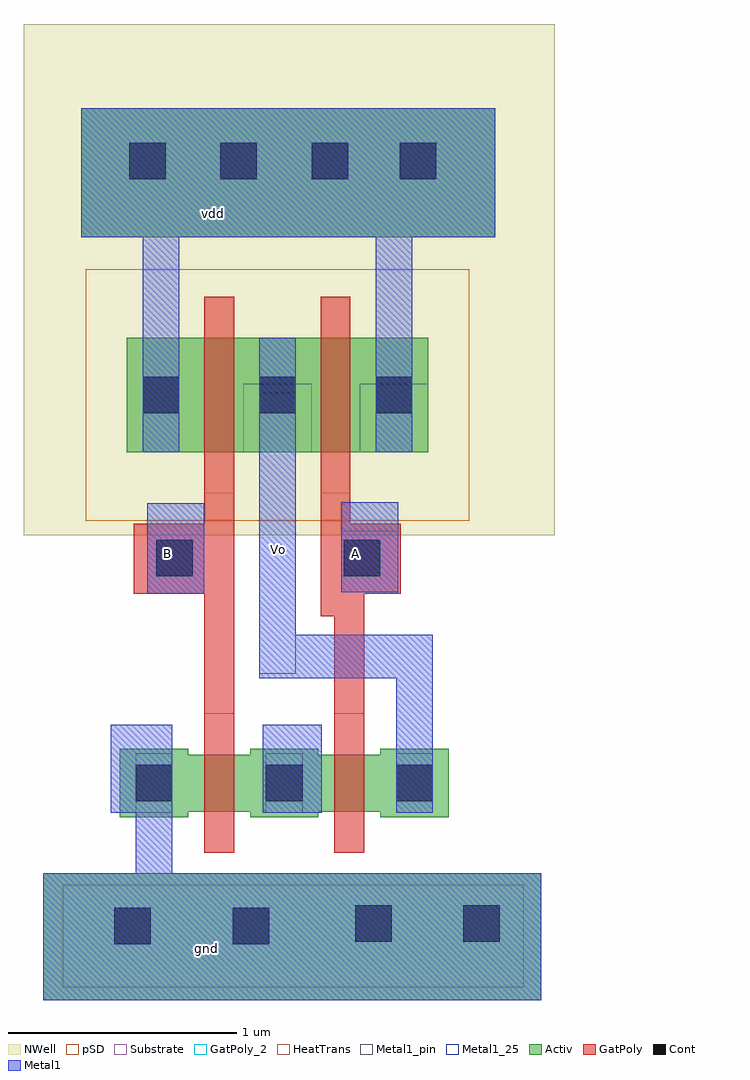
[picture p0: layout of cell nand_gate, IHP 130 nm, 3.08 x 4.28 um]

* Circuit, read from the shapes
.subckt nand_gate A B Vo gnd vdd
XM1 n1 B gnd gnd sg13_lv_nmos w=0.25u l=0.13u
XM2 Vo A n1 gnd sg13_lv_nmos w=0.25u l=0.13u
XM3 Vo B vdd vdd sg13_lv_pmos w=0.5u l=0.13u
XM4 vdd A Vo vdd sg13_lv_pmos w=0.5u l=0.13u
.ends

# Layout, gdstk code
import gdstk
lib = gdstk.Library(unit=1e-6, precision=1e-09)
def R(c, l, rs):  # rectangles x0, y0, x1, y1
    for r in rs: c.add(gdstk.rectangle(r[:2], r[2:], *l))
def A(c, l, x, y, w, h, nx, ny, dx, dy):  # array of equal rectangles
    R(c, l, [(x+i*dx, y+j*dy, x+i*dx+w, y+j*dy+h) for i in range(nx) for j in range(ny)])
def P(c, l, *ps):  # polygons
    for p in ps: c.add(gdstk.Polygon(p, *l))
Activ = (1, 0)
GatPoly = (5, 0)
GatPoly_2 = (5, 2)
Cont = (6, 0)
Metal1 = (8, 0)
Metal1_pin = (8, 2)
Metal1_25 = (8, 25)
pSD = (14, 0)
NWell = (31, 0)
Substrate = (40, 0)
HeatTrans = (51, 0)

pmos_1 = lib.new_cell('pmos$1')
R(pmos_1, Activ, [(0,0,0.3,0.3), (0,0,0.81,0.5), (0.51,0,0.81,0.3)])
R(pmos_1, GatPoly, [(0.34,-0.18,0.47,0.68), (0.34,-0.18,0.47,0.68)])
R(pmos_1, Cont, [(0.07,0.17,0.23,0.33), (0.58,0.17,0.74,0.33)])
R(pmos_1, Metal1, [(0.07,0,0.23,0.5), (0.07,0,0.23,0.5), (0.58,0,0.74,0.5), (0.58,0,0.74,0.5)])
R(pmos_1, pSD, [(-0.18,-0.3,0.99,0.8)])
R(pmos_1, NWell, [(-0.31,-0.31,1.12,0.81)])
R(pmos_1, Substrate, [(0.51,0,0.81,0.3)])
R(pmos_1, HeatTrans, [(0.34,-0.18,0.47,0.68)])
pmos_1.add(gdstk.Label('pmos', (0.405,0.25), layer=63, texttype=0))
pmos_1.add(gdstk.Label('pmos', (0.405,0.25), layer=51, texttype=0))

nmos_1 = lib.new_cell('nmos$1')
R(nmos_1, Activ, [(0,0,0.3,0.3), (0.57,0,0.87,0.3), (0,0.025,0.87,0.275)])
R(nmos_1, GatPoly, [(0.37,-0.155,0.5,0.455)])
R(nmos_1, GatPoly_2, [(0.37,-0.155,0.5,0.455)])
R(nmos_1, Cont, [(0.07,0.07,0.23,0.23), (0.64,0.07,0.8,0.23)])
R(nmos_1, Metal1, [(0.07,0.02,0.23,0.28), (0.64,0.02,0.8,0.28)])
R(nmos_1, Metal1_pin, [(0.07,0.02,0.23,0.28), (0.64,0.02,0.8,0.28)])
R(nmos_1, HeatTrans, [(0.37,-0.155,0.5,0.455)])
nmos_1.add(gdstk.Label('nmos', (0.435,0.15), layer=63, texttype=0))
nmos_1.add(gdstk.Label('nmos', (0.435,0.15), layer=51, texttype=0))

nand_gate = lib.new_cell('nand_gate')
R(nand_gate, Activ, [(-0.91,-2.055,1.27,-1.5), (-0.745,1.285,1.07,1.85)])
R(nand_gate, GatPoly, [(-0.205,-1.315,-0.075,1.025), (0.365,-1.28,0.495,-0.3), (0.305,-0.375,0.495,-0.275), (-0.515,-0.275,-0.205,0.03), (0.305,-0.275,0.655,0.03), (0.305,-0.225,0.435,1.025)])
A(nand_gate, Cont, -0.535, 1.54, 0.16, 0.16, 3, 1, 0.4, 0)
R(nand_gate, Cont, [(-0.6,-1.81,-0.44,-1.65), (-0.08,-1.81,0.08,-1.65), (-0.08,-1.81,0.08,-1.65), (0.455,-1.8,0.615,-1.64), (0.93,-1.8,1.09,-1.64), (-0.415,-0.2,-0.255,-0.04), (0.405,-0.2,0.565,-0.04), (0.65,1.54,0.81,1.7)])
P(nand_gate, Cont, [(-0.285,-0.015),(-0.285,-0.015),(-0.285,-0.015),(-0.285,-0.015)],
  [(0.535,-0.015),(0.535,-0.015),(0.535,-0.015),(0.535,-0.015)])
R(nand_gate, Metal1, [(-0.91,-2.055,1.27,-1.5), (-0.505,-1.505,-0.345,-0.975), (-0.615,-1.235,-0.345,-0.85), (0.05,-1.235,0.31,-0.85), (0.635,-1.055,0.795,-0.49), (0.035,-0.645,0.795,-0.455), (0.035,-0.62,0.195,-0.44), (0.035,-0.545,0.195,0.845), (-0.455,-0.275,-0.205,0.12), (-0.455,-0.275,-0.205,0.12), (0.395,-0.27,0.645,0.125), (-0.475,0.345,-0.315,1.285), (0.545,0.345,0.705,1.285), (-0.745,1.285,1.07,1.85)])
P(nand_gate, Metal1, [(2.08,-0.425),(2.08,-0.425),(2.08,-0.425),(2.08,-0.425)])
R(nand_gate, Metal1_pin, [(-0.91,-2.055,1.27,-1.5), (0.035,-0.625,0.195,0.605), (-0.455,-0.275,-0.205,0.03), (0.395,-0.27,0.645,0), (-0.745,1.285,1.07,1.85)])
P(nand_gate, Metal1_25, [(0.12,1.15),(0.12,1.15),(0.12,1.15),(0.12,1.15)])
R(nand_gate, pSD, [(-0.825,-2,1.195,-1.55)])
R(nand_gate, NWell, [(-0.995,-0.02,1.33,2.22)])
nand_gate.add(gdstk.Reference(pmos_1, (-0.545,0.345)))
nand_gate.add(gdstk.Reference(pmos_1, (-0.035,0.345)))
nand_gate.add(gdstk.Reference(nmos_1, (-0.005,-1.255)))
nand_gate.add(gdstk.Reference(nmos_1, (-0.575,-1.255)))
nand_gate.add(gdstk.Label('gnd', (-0.195,-1.83), layer=8, texttype=25))
nand_gate.add(gdstk.Label('B', (-0.365,-0.1), layer=8, texttype=25))
nand_gate.add(gdstk.Label('A', (0.455,-0.1), layer=8, texttype=25))
nand_gate.add(gdstk.Label('vdd', (-0.165,1.39), layer=8, texttype=25))
nand_gate.add(gdstk.Label('Vo', (0.12,-0.08), layer=8, texttype=25))

lib.write_gds('nand_gate.gds')
